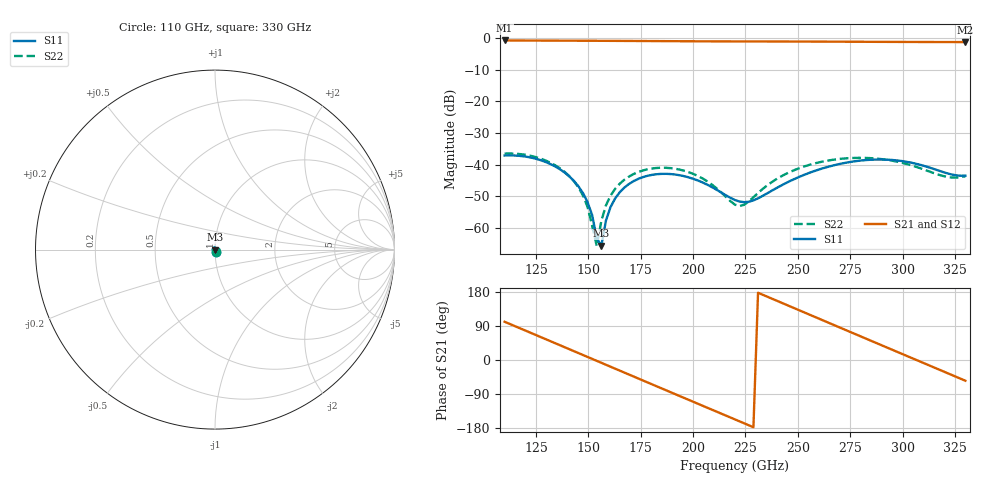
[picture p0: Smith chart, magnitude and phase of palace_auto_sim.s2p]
#  GHZ S DB R 50
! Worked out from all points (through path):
!   101 points, 110 GHz to 330 GHz, reference 50 ohm
!   highest |S21| = -0.83 dB at 110 GHz (marker M1); lowest = -1.3 dB at 330 GHz (marker M2)
!   group delay of S21, straight-line fit = 6.51 ps
!   lowest |S11| = -65.7 dB at 156.2 GHz (marker M3), VSWR 1.00, Z = 50 - j0.0436 ohm
!   |S11| at or under -10 dB: start of sweep to end of sweep
!   |S22| runs from -65.8 to -36.5 dB; largest |S21 - S12| = 1.5e-13
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110  -37.16 -66.9  -0.83 100.9  -0.83 100.9  -36.55 -67.5
121  -37.61 -93.1  -0.85 75.1  -0.85 75.1  -37.06 -93.4
132  -39.89 -120.9  -0.88 49.4  -0.88 49.4  -39.47 -120.6
140.8  -43.70 -143.5  -0.90 28.7  -0.90 28.7  -43.60 -142.4
147.4  -49.00 -159.2  -0.91 13.2  -0.91 13.2  -49.75 -155.8
151.8  -56.01 -164.0  -0.93 2.9  -0.93 2.9  -59.30 -149.5
154  -63.28 -150.8  -0.93 -2.3  -0.93 -2.3  -65.79 -77.9
156.2  -65.66 -56.7  -0.94 -7.4  -0.94 -7.4  -57.75 -31.6
158.4  -57.65 -33.6  -0.95 -12.6  -0.95 -12.6  -52.86 -27.9
160.6  -53.41 -33.6  -0.95 -17.8  -0.95 -17.8  -49.81 -30.4
165  -48.74 -42.6  -0.97 -28.1  -0.97 -28.1  -46.05 -39.9
173.8  -44.54 -67.5  -0.99 -48.7  -0.99 -48.7  -42.38 -63.7
184.8  -42.96 -103.0  -1.03 -74.5  -1.03 -74.5  -41.02 -96.7
202.4  -45.08 -169.0  -1.10 -115.7  -1.10 -115.7  -43.66 -156.2
220  -51.22 94.2  -1.13 -156.8  -1.13 -156.8  -52.68 101.3
224.4  -51.89 59.6  -1.14 -167.1  -1.14 -167.1  -52.71 53.8
237.6  -48.26 -28.7  -1.15 161.9  -1.15 161.9  -45.54 -29.2
257.4  -42.18 -112.5  -1.19 115.4  -1.19 115.4  -39.76 -99.6
275  -39.20 -176.9  -1.23 74.1  -1.23 74.1  -37.97 -160.1
294.8  -38.56 112.1  -1.28 27.7  -1.28 27.7  -38.77 127.2
312.4  -40.86 41.1  -1.32 -13.5  -1.32 -13.5  -42.11 48.5
330  -43.51 -59.7  -1.34 -54.7  -1.34 -54.7  -43.71 -62.6
